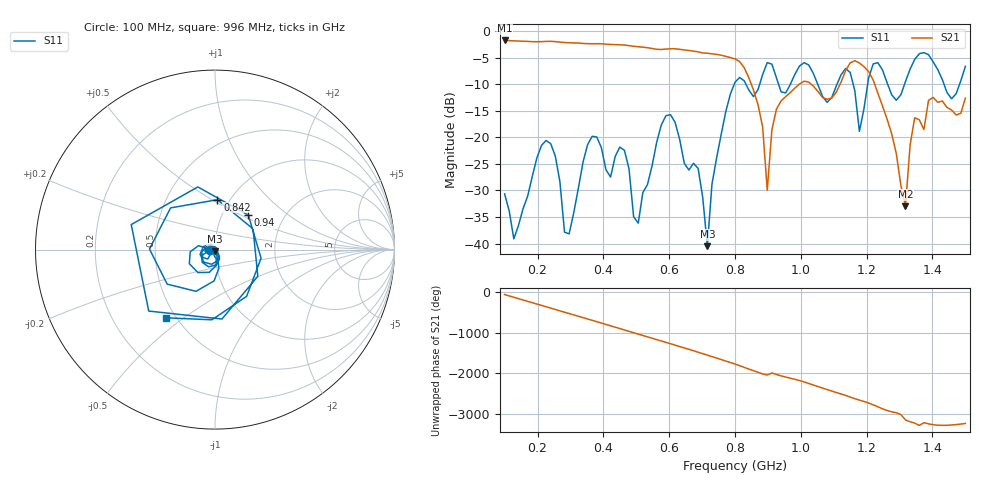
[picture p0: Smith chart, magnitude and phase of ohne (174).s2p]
! NanoVNA-App
! Date: 2025-09-25 14:22:09
! Start: 100MHz Stop: 1,5GHz Points: 101
! S-Parameter data: F S11 S21 S12 S22
# Hz S RI R 50
!  Frequency  S11_Real  S11_Imag  S21_Real  S21_Imag  S12_Real  S12_Imag  S22_Real  S22_Imag
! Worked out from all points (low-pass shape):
!   101 points, 100 MHz to 1.5 GHz, reference 50 ohm
!   highest |S21| = -1.79 dB at 100 MHz (marker M1); lowest = -33.0 dB at 1.318 GHz (marker M2)
!   |S21| within 3 dB of the highest: start of sweep to 772.2 MHz
!   lowest |S11| = -40.5 dB at 716 MHz (marker M3), VSWR 1.02, Z = 49.8 - j0.931 ohm
!   |S11| at or under -10 dB: start of sweep to 797.9 MHz; 833 MHz to 875.1 MHz (42.08 MHz wide, 4.93 % of centre); 1.051 GHz to 1.11 GHz (58.96 MHz wide, 5.46 % of centre) (the widest 3 of 7)
!   S12 and S22 are empty: the file has one direction only
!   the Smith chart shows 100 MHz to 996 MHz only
!   S11 on the Smith chart (normalised r, x): 100 MHz: 0.94, -0.01; 842 MHz: 0.88, +0.53; 940 MHz: 1.33, +0.55; 996 MHz: 0.44, -0.43
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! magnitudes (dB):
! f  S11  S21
! 100 MHz  -30.6  -1.8
! 128 MHz  -39.1  -1.9
! 226 MHz  -20.6  -2.0
! 296 MHz  -38.2  -2.2
! 338 MHz  -24.8  -2.4
! 464 MHz  -22.5  -2.7
! 506 MHz  -36.1  -3.0
! 576 MHz  -17.7  -3.5
! 688 MHz  -25.9  -3.9
! 716 MHz  -40.5  -4.2
! 800 MHz  -9.7  -5.3
! 842 MHz  -11.1  -8.8
! 898 MHz  -6.0  -30.0
! 940 MHz  -11.5  -13.2
! 996 MHz  -6.6  -10.0
! 1.038 GHz  -8.0  -10.4
! 1.178 GHz  -18.9  -6.0
! 1.22 GHz  -6.2  -9.3
! 1.276 GHz  -12.0  -19.3
! 1.318 GHz  -9.5  -33.0
! 1.346 GHz  -5.4  -16.3
! 1.5 GHz  -6.7  -12.6
